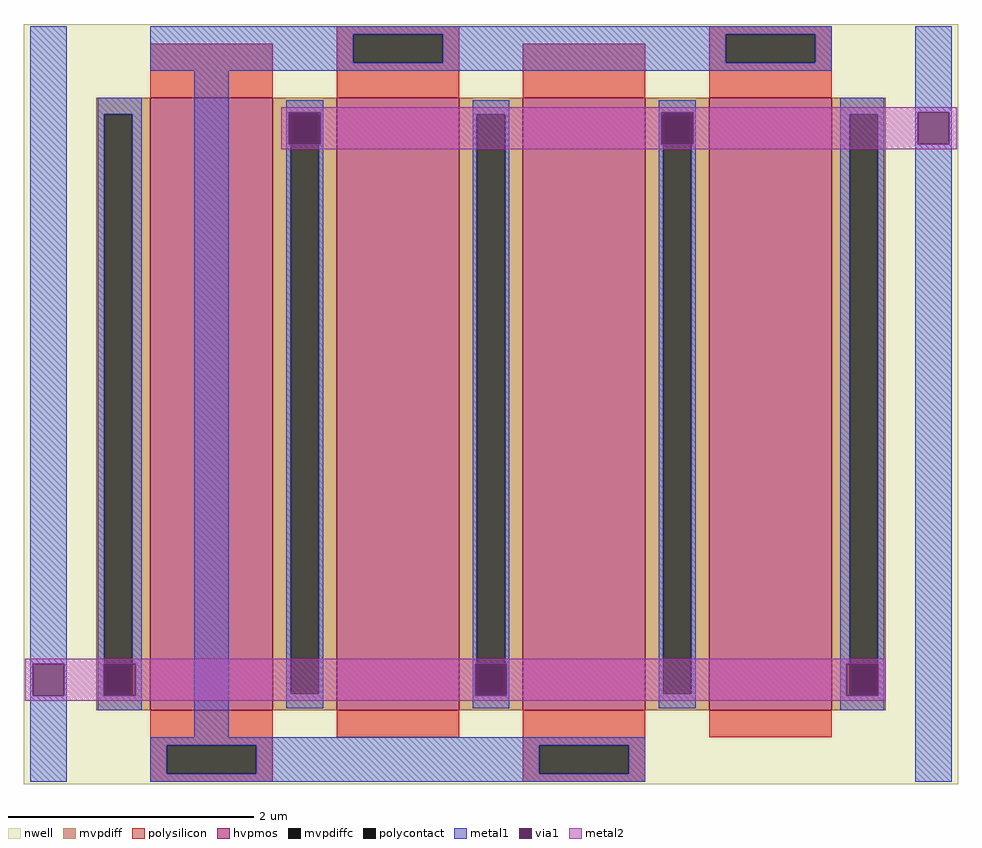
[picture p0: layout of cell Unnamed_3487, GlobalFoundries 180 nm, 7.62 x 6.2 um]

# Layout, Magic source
magic
tech gf180mcuD
magscale 1 10
<< nwell >>
rect -192 -120 1332 1120
<< hvpmos >>
rect 14 0 214 1000
rect 318 0 518 1000
rect 622 0 822 1000
rect 926 0 1126 1000
<< mvpdiff >>
rect -74 973 14 1000
rect -74 27 -61 973
rect -15 27 14 973
rect -74 0 14 27
rect 214 973 318 1000
rect 214 27 243 973
rect 289 27 318 973
rect 214 0 318 27
rect 518 973 622 1000
rect 518 27 547 973
rect 593 27 622 973
rect 518 0 622 27
rect 822 973 926 1000
rect 822 27 851 973
rect 897 27 926 973
rect 822 0 926 27
rect 1126 973 1214 1000
rect 1126 27 1155 973
rect 1201 27 1214 973
rect 1126 0 1214 27
<< mvpdiffc >>
rect -61 27 -15 973
rect 243 27 289 973
rect 547 27 593 973
rect 851 27 897 973
rect 1155 27 1201 973
<< polysilicon >>
rect 318 1103 518 1116
rect 14 1000 214 1088
rect 318 1057 345 1103
rect 491 1057 518 1103
rect 926 1103 1126 1116
rect 318 1000 518 1057
rect 622 1000 822 1088
rect 926 1057 953 1103
rect 1099 1057 1126 1103
rect 926 1000 1126 1057
rect 14 -57 214 0
rect 318 -44 518 0
rect 14 -103 41 -57
rect 187 -103 214 -57
rect 14 -116 214 -103
rect 622 -57 822 0
rect 926 -44 1126 0
rect 622 -103 649 -57
rect 795 -103 822 -57
rect 622 -116 822 -103
<< polycontact >>
rect 345 1057 491 1103
rect 953 1057 1099 1103
rect 41 -103 187 -57
rect 649 -103 795 -57
<< metal1 >>
rect -182 76 -122 1116
rect 14 1103 1126 1116
rect 14 1057 345 1103
rect 491 1057 953 1103
rect 1099 1057 1126 1103
rect 14 1044 1126 1057
rect -182 24 -178 76
rect -126 24 -122 76
rect -182 -116 -122 24
rect -72 973 0 1000
rect -72 76 -61 973
rect -15 76 0 973
rect -72 24 -62 76
rect -10 24 0 76
rect -72 0 0 24
rect 86 -44 142 1044
rect 236 976 296 996
rect 236 924 240 976
rect 292 924 296 976
rect 236 27 243 924
rect 289 27 296 924
rect 236 4 296 27
rect 540 973 600 996
rect 540 76 547 973
rect 593 76 600 973
rect 540 24 544 76
rect 596 24 600 76
rect 540 4 600 24
rect 844 976 904 996
rect 844 924 848 976
rect 900 924 904 976
rect 844 27 851 924
rect 897 27 904 924
rect 844 4 904 27
rect 1140 973 1212 1000
rect 1140 76 1155 973
rect 1201 76 1212 973
rect 1140 24 1150 76
rect 1202 24 1212 76
rect 1140 0 1212 24
rect 1262 976 1322 1116
rect 1262 924 1266 976
rect 1318 924 1322 976
rect 14 -57 822 -44
rect 14 -103 41 -57
rect 187 -103 649 -57
rect 795 -103 822 -57
rect 14 -116 822 -103
rect 1262 -116 1322 924
<< via1 >>
rect -178 24 -126 76
rect -62 27 -61 76
rect -61 27 -15 76
rect -15 27 -10 76
rect -62 24 -10 27
rect 240 973 292 976
rect 240 924 243 973
rect 243 924 289 973
rect 289 924 292 973
rect 544 27 547 76
rect 547 27 593 76
rect 593 27 596 76
rect 544 24 596 27
rect 848 973 900 976
rect 848 924 851 973
rect 851 924 897 973
rect 897 924 900 973
rect 1150 27 1155 76
rect 1155 27 1201 76
rect 1201 27 1202 76
rect 1150 24 1202 27
rect 1266 924 1318 976
<< metal2 >>
rect 228 976 1330 984
rect 228 924 240 976
rect 292 924 848 976
rect 900 924 1266 976
rect 1318 924 1330 976
rect 228 916 1330 924
rect -190 76 1214 84
rect -190 24 -178 76
rect -126 24 -62 76
rect -10 24 544 76
rect 596 24 1150 76
rect 1202 24 1214 76
rect -190 16 1214 24
<< end >>
